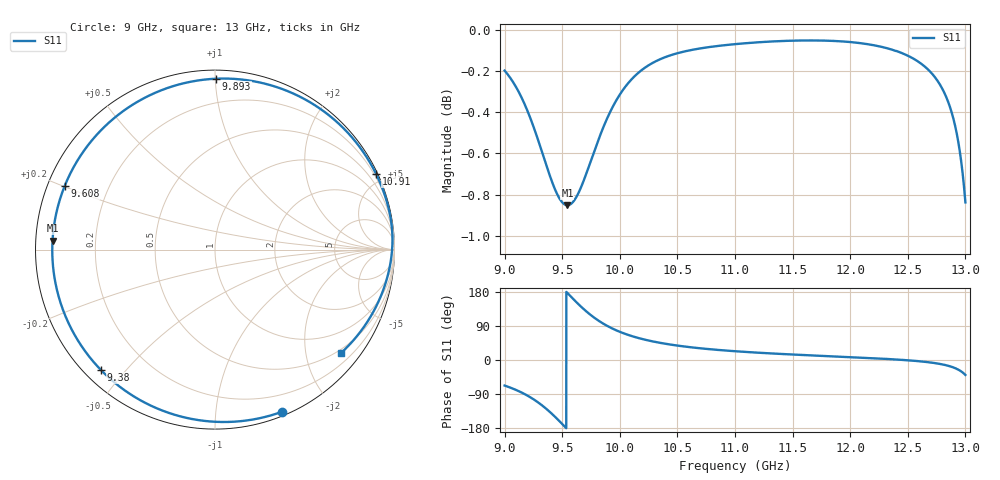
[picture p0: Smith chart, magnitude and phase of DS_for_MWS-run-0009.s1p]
! TOUCHSTONE file generated by CST DESIGN STUDIO
! Date and time: Tue Feb  4 16:43:55 2025
! Project name: C:\Work\MatlabApps\UnitCellOptimizationMatlab\CST\unitcell.cst
! Tree item: Tasks\Sweep1\SPara1\S-Parameters
! Header version: 2024
! Port assignment regex: !\s*Touchstone port\s*([0-9]+)\s*=\s*(CST MWS port|CST DES external port|CST DES block port)\s*(.+)\s* \(\"(.*)\"\)(\s*mode\s*([0-9]+))?.*
! Touchstone port assignment:
! Touchstone port 1 = CST DES external port 1 ("")
# GHz S MA R 50
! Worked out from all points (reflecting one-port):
!   4001 points, 9 GHz to 13 GHz, reference 50 ohm
!   lowest |S11| = -0.9 dB at 9.545 GHz (marker M1), VSWR 20.41, Z = 2.45 + j1.36 ohm
!   phase of S11 starts at -67 deg and turns -332 deg over the sweep
!   S11 on the Smith chart (normalised r, x): 9 GHz: 0.04, -1.50; 9.38 GHz: 0.05, -0.43; 9.608 GHz: 0.05, +0.20; 9.893 GHz: 0.05, +1.01; 10.91 GHz: 0.09, +4.47; 13 GHz: 0.41, -2.73
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9  0.9776 -67.5
9.109  0.9675 -80.3
9.225  0.9516 -98.7
9.306  0.9375 -115.3
9.38  0.9239 -133.6
9.445  0.9137 -152.0
9.5  0.9081 -168.9
9.545  0.9066 176.9
9.608  0.9094 157.2
9.677  0.9177 137.0
9.743  0.9284 119.8
9.813  0.9402 104.3
9.893  0.9522 89.6
10  0.9645 74.4
10.102  0.9728 63.3
10.216  0.9791 53.8
10.347  0.9837 45.4
10.5  0.9871 38.0
10.684  0.9896 31.3
10.908  0.9915 25.2
11  0.9921 23.2
11.5  0.9941 14.4
12  0.9933 7.5
12.5  0.9857 -0.8
12.685  0.9776 -6.1
12.818  0.9654 -12.8
12.924  0.944 -23.2
13  0.908 -39.5
